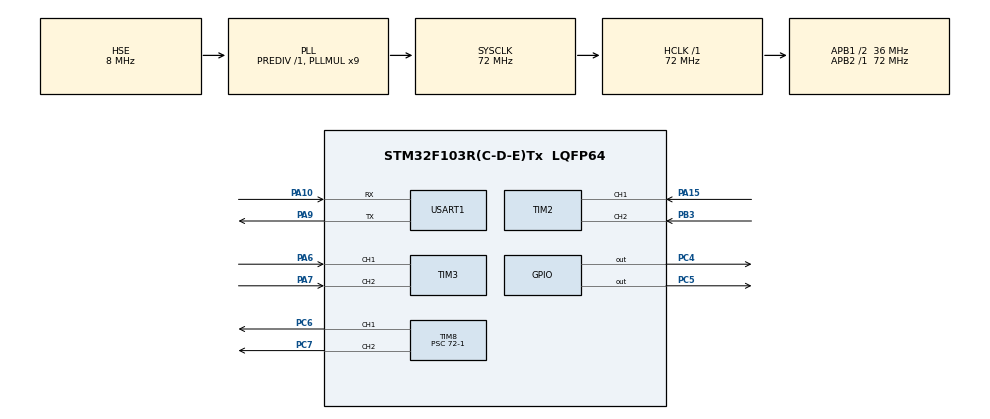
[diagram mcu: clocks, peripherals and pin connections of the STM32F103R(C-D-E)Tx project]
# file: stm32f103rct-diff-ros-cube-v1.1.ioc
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Mcu.Family=STM32F1
Mcu.Name=STM32F103R(C-D-E)Tx
Mcu.Package=LQFP64
NVIC.PriorityGroup=NVIC_PRIORITYGROUP_4
PA10.Mode=Asynchronous
PA10.Signal=USART1_RX
PA13.Mode=Serial_Wire
PA13.Signal=SYS_JTMS-SWDIO
PA14.Mode=Serial_Wire
PA14.Signal=SYS_JTCK-SWCLK
PA15.Signal=S_TIM2_CH1_ETR
PA6.Signal=S_TIM3_CH1
PA7.Signal=S_TIM3_CH2
PA9.Mode=Asynchronous
PA9.Signal=USART1_TX
PB3.Signal=S_TIM2_CH2
PC4.Signal=GPIO_Output
PC5.Signal=GPIO_Output
PC6.Signal=S_TIM8_CH1
PC7.Signal=S_TIM8_CH2
PD0-OSC_IN.Mode=HSE-External-Oscillator
PD0-OSC_IN.Signal=RCC_OSC_IN
PD1-OSC_OUT.Mode=HSE-External-Oscillator
PD1-OSC_OUT.Signal=RCC_OSC_OUT
ProjectManager.HeapSize=0x200
ProjectManager.StackSize=0x400
ProjectManager.TargetToolchain=STM32CubeIDE
RCC.AHBFreq_Value=72000000
RCC.APB1CLKDivider=RCC_HCLK_DIV2
RCC.APB1Freq_Value=36000000
RCC.APB1TimFreq_Value=72000000
RCC.APB2Freq_Value=72000000
RCC.APB2TimFreq_Value=72000000
RCC.HCLKFreq_Value=72000000
RCC.PLLMUL=RCC_PLL_MUL9
RCC.PLLSourceVirtual=RCC_PLLSOURCE_HSE
RCC.SYSCLKFreq_VALUE=72000000
RCC.SYSCLKSource=RCC_SYSCLKSOURCE_PLLCLK
RCC.USBFreq_Value=72000000
SH.S_TIM2_CH1_ETR.0=TIM2_CH1,Encoder_Interface
SH.S_TIM2_CH2.0=TIM2_CH2,Encoder_Interface
SH.S_TIM3_CH1.0=TIM3_CH1,Encoder_Interface
SH.S_TIM3_CH2.0=TIM3_CH2,Encoder_Interface
SH.S_TIM8_CH1.0=TIM8_CH1,PWM Generation1 CH1
SH.S_TIM8_CH2.0=TIM8_CH2,PWM Generation2 CH2
TIM2.EncoderMode=TIM_ENCODERMODE_TI12
TIM3.EncoderMode=TIM_ENCODERMODE_TI12
TIM8.Channel-PWM\ Generation1\ CH1=TIM_CHANNEL_1
TIM8.Channel-PWM\ Generation2\ CH2=TIM_CHANNEL_2
TIM8.Period=1000-1
TIM8.Prescaler=72-1
USART1.VirtualMode=VM_ASYNC
board=custom

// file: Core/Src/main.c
/* USER CODE BEGIN Header */
/**
  ******************************************************************************
  * @file           : main.c
  * @brief          : Main program body
  ******************************************************************************
  * @attention
  *
  * Copyright (c) 2023 STMicroelectronics.
  * All rights reserved.
  *
  * This software is licensed under terms that can be found in the LICENSE file
  * in the root directory of this software component.
  * If no LICENSE file comes with this software, it is provided AS-IS.
  *
  ******************************************************************************
  */
/* USER CODE END Header */
#include "main.h"

/* USER CODE BEGIN Includes */
#include "../App/pid.h"

/* USER CODE END Includes */

TIM_HandleTypeDef htim2;
TIM_HandleTypeDef htim3;
TIM_HandleTypeDef htim8;

UART_HandleTypeDef huart1;

void SystemClock_Config(void);
static void MX_GPIO_Init(void);
static void MX_TIM8_Init(void);
static void MX_TIM2_Init(void);
static void MX_TIM3_Init(void);
static void MX_USART1_UART_Init(void);

/* USER CODE BEGIN 0 */

double speed_t2;
double speed_t3;

uint32_t g_sample_time = 10;   // 10ms

PID_TypeDef TPID;

int32_t g_tot_enc_cnt_t2=0;
int32_t g_tot_enc_cnt_t3=0;

double PIDOut;

// Your temp setpoint
double speed_set_point = 200;  // speed :  200 mm/s

int32_t g_encoder_cnt_t2;
int32_t g_encoder_cnt_t3;

int32_t g_tot_enc_cnt_t2;
int32_t g_tot_enc_cnt_t3;

uint32_t g_pwm = 0;

/* USER CODE END 0 */

int main(void)
{

  /* MCU Configuration--------------------------------------------------------*/

  /* Reset of all peripherals, Initializes the Flash interface and the Systick. */
  HAL_Init();

  /* Configure the system clock */
  SystemClock_Config();

  /* Initialize all configured peripherals */
  MX_GPIO_Init();
  MX_TIM8_Init();
  MX_TIM2_Init();
  MX_TIM3_Init();
  MX_USART1_UART_Init();
  /* USER CODE BEGIN 2 */

  HAL_TIM_PWM_Start(&htim8, TIM_CHANNEL_1);
  HAL_TIM_PWM_Start(&htim8, TIM_CHANNEL_2);

  TIM8->CCR1 = 00;
  TIM8->CCR2 = 00;

  HAL_GPIO_WritePin(GPIOC, GPIO_PIN_4, GPIO_PIN_SET);
  HAL_GPIO_WritePin(GPIOC, GPIO_PIN_5, GPIO_PIN_SET);

  HAL_TIM_Encoder_Start(&htim2, TIM_CHANNEL_ALL);
  HAL_TIM_Encoder_Start(&htim3, TIM_CHANNEL_ALL);

  //Motor 1 round count
  //GA25-370 RPM 60 --> ratio 103, count = 103 * 11 * 4 = 4532
  //GA25-370 RPM 77 --> ratio 78, count = 78 * 11 * 4 = 3432
  //GA25-370 RPM 130 --> ratio 46, count = 46 * 11 * 4 = 2024

  // Wheel Round Length
  // 2* PI * r(radius) = 2 * 3.14159 * ( 65mm /2 ) ,  =  204.2 (~~> 204mm )

  // speed
  // case GA25-370 RPM 77:
  // speed = S / T, UNIT: mm
  // encode_cnt / 2432 * (204.2 mm) / (10 * 1e-3 )

  //PID(&TPID, &speed_t2, &PIDOut,  &speed_set_point, 2, 5, 1, _PID_P_ON_E, _PID_CD_DIRECT);

  PID(&TPID, &speed_t2, &PIDOut,  &speed_set_point, 4.5, 1.2, 0.1, _PID_P_ON_E, _PID_CD_DIRECT);

  PID_SetMode(&TPID, _PID_MODE_AUTOMATIC);
  PID_SetSampleTime(&TPID, 10);
  PID_SetOutputLimits(&TPID, -900, 900);

  /* USER CODE END 2 */

  /* Infinite loop */
  /* USER CODE BEGIN WHILE */
  uint32_t now = 0;
  uint32_t last_time = 0;
  uint32_t time_change = 0 ;

  //MOTOR 2
  TIM8->CCR1 = 450;
  //HAL_GPIO_WritePin(GPIOC, GPIO_PIN_4, GPIO_PIN_RESET);  // BACK
  HAL_GPIO_WritePin(GPIOC, GPIO_PIN_4, GPIO_PIN_SET);  // FORTH
  speed_set_point = 20;

//  TIM8->CCR2 = 00;
//  HAL_GPIO_WritePin(GPIOC, GPIO_PIN_5, GPIO_PIN_SET);

  while(1)
  {
	  TIM8->CCR1 = 0;
	  TIM8->CCR2 = 0;
  }

  while (1)
  {

	  //now = GetTime();

	  now = HAL_GetTick(); //msec, 1e-3
	  time_change = (now - last_time);

	  if(time_change >= TPID.SampleTime)
	  {
		  g_encoder_cnt_t2 = (short)TIM2 -> CNT; TIM2 -> CNT = 0x0000;
	  	  g_encoder_cnt_t3 = (short)TIM3 -> CNT; TIM3 -> CNT = 0x0000;

	  	  g_encoder_cnt_t2 = g_encoder_cnt_t2 * (-1); //DIR REVERSE COUNT

	  	  g_tot_enc_cnt_t2 += g_encoder_cnt_t2;
	  	  g_tot_enc_cnt_t3 += g_encoder_cnt_t3;

	  	  // speed
	  	  // case GA25-370 RPM 77:
	  	  // speed = S / T, UNIT: mm
	  	  // encode_cnt / 2432 * (204.2 mm) / (10 * 1e-3 )

	  	  speed_t2 = g_encoder_cnt_t2 / 2432.0 * (204.2) / (time_change * 1e-3 );
	  	  speed_t3 = g_encoder_cnt_t3 / 2432.0 * (204.2) / (time_change * 1e-3);

	  	  PID_Compute(&TPID);

	  	  if( PIDOut >= 0)
	  	  {
	  	  	  HAL_GPIO_WritePin(GPIOC, GPIO_PIN_4, GPIO_PIN_SET);  // FORTH
	  	  	  g_pwm = (uint32_t) PIDOut;
	  	  	  //g_pwm =    (uint32_t) TPID.MyOutput;
	  		  TIM8->CCR1 = g_pwm;
	  	  }
	  	  else if( PIDOut < 0 ){
	  		HAL_GPIO_WritePin(GPIOC, GPIO_PIN_4, GPIO_PIN_RESET);  // BACK
	  		g_pwm = (uint32_t) (PIDOut * -1);
	  		//g_pwm =  (uint32_t) ( (int)TPID.MyOutput * -1 );
	  		TIM8->CCR1 = g_pwm;
	  	  }

	  	  last_time = now;

	  }

    /* USER CODE END WHILE */

  }
}

void SystemClock_Config(void)
{
  RCC_OscInitTypeDef RCC_OscInitStruct = {0};
  RCC_ClkInitTypeDef RCC_ClkInitStruct = {0};

  /** Initializes the RCC Oscillators according to the specified parameters
  * in the RCC_OscInitTypeDef structure.
  */
  RCC_OscInitStruct.OscillatorType = RCC_OSCILLATORTYPE_HSE;
  RCC_OscInitStruct.HSEState = RCC_HSE_ON;
  RCC_OscInitStruct.HSEPredivValue = RCC_HSE_PREDIV_DIV1;
  RCC_OscInitStruct.HSIState = RCC_HSI_ON;
  RCC_OscInitStruct.PLL.PLLState = RCC_PLL_ON;
  RCC_OscInitStruct.PLL.PLLSource = RCC_PLLSOURCE_HSE;
  RCC_OscInitStruct.PLL.PLLMUL = RCC_PLL_MUL9;
  if (HAL_RCC_OscConfig(&RCC_OscInitStruct) != HAL_OK)
  {
    Error_Handler();
  }

  /** Initializes the CPU, AHB and APB buses clocks
  */
  RCC_ClkInitStruct.ClockType = RCC_CLOCKTYPE_HCLK|RCC_CLOCKTYPE_SYSCLK
                              |RCC_CLOCKTYPE_PCLK1|RCC_CLOCKTYPE_PCLK2;
  RCC_ClkInitStruct.SYSCLKSource = RCC_SYSCLKSOURCE_PLLCLK;
  RCC_ClkInitStruct.AHBCLKDivider = RCC_SYSCLK_DIV1;
  RCC_ClkInitStruct.APB1CLKDivider = RCC_HCLK_DIV2;
  RCC_ClkInitStruct.APB2CLKDivider = RCC_HCLK_DIV1;

  if (HAL_RCC_ClockConfig(&RCC_ClkInitStruct, FLASH_LATENCY_2) != HAL_OK)
  {
    Error_Handler();
  }
}

static void MX_TIM2_Init(void)
{

  TIM_Encoder_InitTypeDef sConfig = {0};
  TIM_MasterConfigTypeDef sMasterConfig = {0};

  htim2.Instance = TIM2;
  htim2.Init.Prescaler = 0;
  htim2.Init.CounterMode = TIM_COUNTERMODE_UP;
  htim2.Init.Period = 65535;
  htim2.Init.ClockDivision = TIM_CLOCKDIVISION_DIV1;
  htim2.Init.AutoReloadPreload = TIM_AUTORELOAD_PRELOAD_DISABLE;
  sConfig.EncoderMode = TIM_ENCODERMODE_TI12;
  sConfig.IC1Polarity = TIM_ICPOLARITY_RISING;
  sConfig.IC1Selection = TIM_ICSELECTION_DIRECTTI;
  sConfig.IC1Prescaler = TIM_ICPSC_DIV1;
  sConfig.IC1Filter = 0;
  sConfig.IC2Polarity = TIM_ICPOLARITY_RISING;
  sConfig.IC2Selection = TIM_ICSELECTION_DIRECTTI;
  sConfig.IC2Prescaler = TIM_ICPSC_DIV1;
  sConfig.IC2Filter = 0;
  if (HAL_TIM_Encoder_Init(&htim2, &sConfig) != HAL_OK)
  {
    Error_Handler();
  }
  sMasterConfig.MasterOutputTrigger = TIM_TRGO_RESET;
  sMasterConfig.MasterSlaveMode = TIM_MASTERSLAVEMODE_DISABLE;
  if (HAL_TIMEx_MasterConfigSynchronization(&htim2, &sMasterConfig) != HAL_OK)
  {
    Error_Handler();
  }

}

static void MX_TIM3_Init(void)
{

  TIM_Encoder_InitTypeDef sConfig = {0};
  TIM_MasterConfigTypeDef sMasterConfig = {0};

  htim3.Instance = TIM3;
  htim3.Init.Prescaler = 0;
  htim3.Init.CounterMode = TIM_COUNTERMODE_UP;
  htim3.Init.Period = 65535;
  htim3.Init.ClockDivision = TIM_CLOCKDIVISION_DIV1;
  htim3.Init.AutoReloadPreload = TIM_AUTORELOAD_PRELOAD_DISABLE;
  sConfig.EncoderMode = TIM_ENCODERMODE_TI12;
  sConfig.IC1Polarity = TIM_ICPOLARITY_RISING;
  sConfig.IC1Selection = TIM_ICSELECTION_DIRECTTI;
  sConfig.IC1Prescaler = TIM_ICPSC_DIV1;
  sConfig.IC1Filter = 0;
  sConfig.IC2Polarity = TIM_ICPOLARITY_RISING;
  sConfig.IC2Selection = TIM_ICSELECTION_DIRECTTI;
  sConfig.IC2Prescaler = TIM_ICPSC_DIV1;
  sConfig.IC2Filter = 0;
  if (HAL_TIM_Encoder_Init(&htim3, &sConfig) != HAL_OK)
  {
    Error_Handler();
  }
  sMasterConfig.MasterOutputTrigger = TIM_TRGO_RESET;
  sMasterConfig.MasterSlaveMode = TIM_MASTERSLAVEMODE_DISABLE;
  if (HAL_TIMEx_MasterConfigSynchronization(&htim3, &sMasterConfig) != HAL_OK)
  {
    Error_Handler();
  }

}

static void MX_TIM8_Init(void)
{

  TIM_MasterConfigTypeDef sMasterConfig = {0};
  TIM_OC_InitTypeDef sConfigOC = {0};
  TIM_BreakDeadTimeConfigTypeDef sBreakDeadTimeConfig = {0};

  htim8.Instance = TIM8;
  htim8.Init.Prescaler = 72-1;
  htim8.Init.CounterMode = TIM_COUNTERMODE_UP;
  htim8.Init.Period = 1000-1;
  htim8.Init.ClockDivision = TIM_CLOCKDIVISION_DIV1;
  htim8.Init.RepetitionCounter = 0;
  htim8.Init.AutoReloadPreload = TIM_AUTORELOAD_PRELOAD_DISABLE;
  if (HAL_TIM_PWM_Init(&htim8) != HAL_OK)
  {
    Error_Handler();
  }
  sMasterConfig.MasterOutputTrigger = TIM_TRGO_RESET;
  sMasterConfig.MasterSlaveMode = TIM_MASTERSLAVEMODE_DISABLE;
  if (HAL_TIMEx_MasterConfigSynchronization(&htim8, &sMasterConfig) != HAL_OK)
  {
    Error_Handler();
  }
  sConfigOC.OCMode = TIM_OCMODE_PWM1;
  sConfigOC.Pulse = 0;
  sConfigOC.OCPolarity = TIM_OCPOLARITY_HIGH;
  sConfigOC.OCNPolarity = TIM_OCNPOLARITY_HIGH;
  sConfigOC.OCFastMode = TIM_OCFAST_DISABLE;
  sConfigOC.OCIdleState = TIM_OCIDLESTATE_RESET;
  sConfigOC.OCNIdleState = TIM_OCNIDLESTATE_RESET;
  if (HAL_TIM_PWM_ConfigChannel(&htim8, &sConfigOC, TIM_CHANNEL_1) != HAL_OK)
  {
    Error_Handler();
  }
  if (HAL_TIM_PWM_ConfigChannel(&htim8, &sConfigOC, TIM_CHANNEL_2) != HAL_OK)
  {
    Error_Handler();
  }
  sBreakDeadTimeConfig.OffStateRunMode = TIM_OSSR_DISABLE;
  sBreakDeadTimeConfig.OffStateIDLEMode = TIM_OSSI_DISABLE;
  sBreakDeadTimeConfig.LockLevel = TIM_LOCKLEVEL_OFF;
  sBreakDeadTimeConfig.DeadTime = 0;
  sBreakDeadTimeConfig.BreakState = TIM_BREAK_DISABLE;
  sBreakDeadTimeConfig.BreakPolarity = TIM_BREAKPOLARITY_HIGH;
  sBreakDeadTimeConfig.AutomaticOutput = TIM_AUTOMATICOUTPUT_DISABLE;
  if (HAL_TIMEx_ConfigBreakDeadTime(&htim8, &sBreakDeadTimeConfig) != HAL_OK)
  {
    Error_Handler();
  }
  HAL_TIM_MspPostInit(&htim8);

}

static void MX_USART1_UART_Init(void)
{

  huart1.Instance = USART1;
  huart1.Init.BaudRate = 115200;
  huart1.Init.WordLength = UART_WORDLENGTH_8B;
  huart1.Init.StopBits = UART_STOPBITS_1;
  huart1.Init.Parity = UART_PARITY_NONE;
  huart1.Init.Mode = UART_MODE_TX_RX;
  huart1.Init.HwFlowCtl = UART_HWCONTROL_NONE;
  huart1.Init.OverSampling = UART_OVERSAMPLING_16;
  if (HAL_UART_Init(&huart1) != HAL_OK)
  {
    Error_Handler();
  }

}

static void MX_GPIO_Init(void)
{
  GPIO_InitTypeDef GPIO_InitStruct = {0};

  /* GPIO Ports Clock Enable */
  __HAL_RCC_GPIOD_CLK_ENABLE();
  __HAL_RCC_GPIOA_CLK_ENABLE();
  __HAL_RCC_GPIOC_CLK_ENABLE();
  __HAL_RCC_GPIOB_CLK_ENABLE();

  /*Configure GPIO pin Output Level */
  HAL_GPIO_WritePin(GPIOC, GPIO_PIN_4|GPIO_PIN_5, GPIO_PIN_RESET);

  /*Configure GPIO pins : PC4 PC5 */
  GPIO_InitStruct.Pin = GPIO_PIN_4|GPIO_PIN_5;
  GPIO_InitStruct.Mode = GPIO_MODE_OUTPUT_PP;
  GPIO_InitStruct.Pull = GPIO_NOPULL;
  GPIO_InitStruct.Speed = GPIO_SPEED_FREQ_LOW;
  HAL_GPIO_Init(GPIOC, &GPIO_InitStruct);

}

void Error_Handler(void)
{
  __disable_irq();
  while (1)
  {
  }
}
